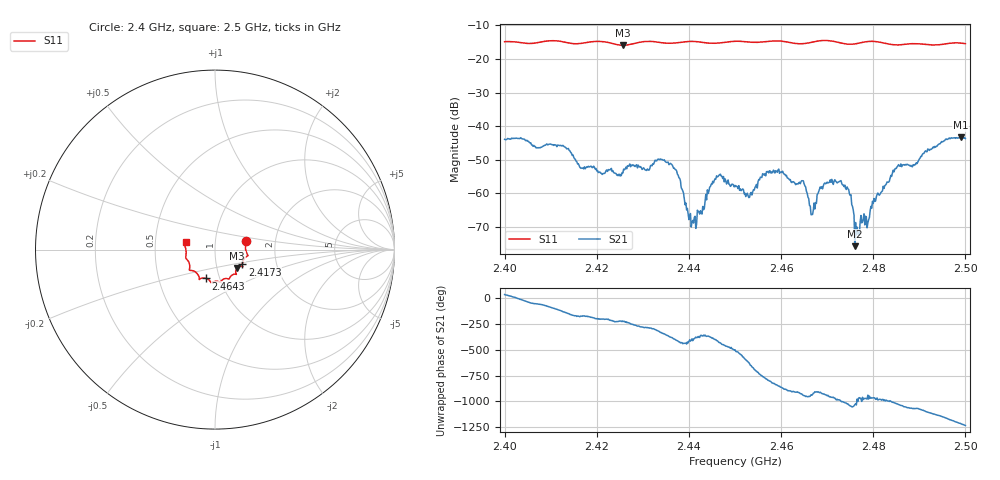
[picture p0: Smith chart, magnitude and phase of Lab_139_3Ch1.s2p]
# Hz S RI R 50
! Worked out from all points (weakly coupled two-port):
!   601 points, 2.4 GHz to 2.5 GHz, reference 50 ohm
!   highest |S21| = -43.32 dB at 2.499 GHz (marker M1); lowest = -75.7 dB at 2.476 GHz (marker M2)
!   lowest |S11| = -15.9 dB at 2.4257 GHz (marker M3), VSWR 1.38, Z = 62.4 - j13.1 ohm
!   |S11| at or under -10 dB: start of sweep to end of sweep
!   S12 and S22 are empty: the file has one direction only
!   S11 on the Smith chart (normalised r, x): 2.4 GHz: 1.41, +0.14; 2.4173 GHz: 1.34, -0.23; 2.4643 GHz: 0.86, -0.28; 2.5 GHz: 0.72, +0.06
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2.4e9  0.1735 0.0494  0.00521 0.00366  0 0  0 0
2.412667e9  0.1759 -0.0386  -0.00347 -0.00384  0 0  0 0
2.416667e9  0.1531 -0.0752  -0.00237 -0.000232  0 0  0 0
2.417333e9  0.1524 -0.0825  -0.00246 -0.000332  0 0  0 0
2.425667e9  0.1224 -0.1023  -0.00137 0.00147  0 0  0 0
2.433333e9  0.1128 -0.1367  0.0024 0.00218  0 0  0 0
2.437333e9  0.0856 -0.151  0.00139 -0.00165  0 0  0 0
2.441e9  0.0779 -0.1644  0.000294 -0.000212  0 0  0 0
2.446167e9  0.046 -0.1656  0.00106 -0.0014  0 0  0 0
2.45e9  0.0298 -0.1807  -0.00101 -0.000849  0 0  0 0
2.453333e9  0.0152 -0.1769  0.000343 0.000935  0 0  0 0
2.459e9  -0.0216 -0.1841  -0.00105 -0.00186  0 0  0 0
2.464333e9  -0.0502 -0.1604  -0.00134 0.000669  0 0  0 0
2.466667e9  -0.0762 -0.1598  -0.000365 0.000317  0 0  0 0
2.469e9  -0.0875 -0.1664  -0.00105 0.000503  0 0  0 0
2.472667e9  -0.0895 -0.1499  -0.00011 0.00151  0 0  0 0
2.474667e9  -0.1032 -0.1294  0.000795 0.000822  0 0  0 0
2.476e9  -0.1165 -0.1197  0.000111 0.000121  0 0  0 0
2.478667e9  -0.1392 -0.1157  -6.12e-05 0.000301  0 0  0 0
2.483333e9  -0.1407 -0.0894  0.000187 0.00146  0 0  0 0
2.499e9  -0.1683 0.036  -0.00491 -0.00474  0 0  0 0
2.5e9  -0.1633 0.0417  -0.00586 -0.00291  0 0  0 0
